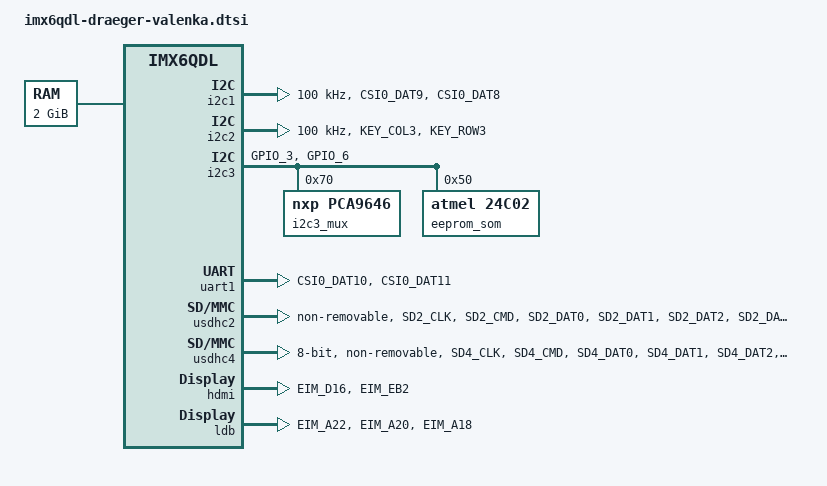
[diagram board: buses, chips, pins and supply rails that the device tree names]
/*
 *  (C) Copyright 2020 Draeger and Licensors, info@draeger.com
 *  Based on work by Russell King
 *
 *  SPDX-License-Identifier: GPL-2.0+
 *  Device Tree file for Draeger Valenka Board
 */
#include <dt-bindings/clock/imx6qdl-clock.h>
#include <dt-bindings/gpio/gpio.h>
#include <dt-bindings/input/input.h>

&iomuxc {

    valenka {

        pinctrl_valenka_uart1: valenka-uart1 {
            fsl,pins = <
                MX6QDL_PAD_CSI0_DAT10__UART1_TX_DATA	0x1b098
                MX6QDL_PAD_CSI0_DAT11__UART1_RX_DATA	0x1b098
                >;
        };

        pinctrl_valenka_uart4: valenka-uart4 {
            fsl,pins = <
                MX6QDL_PAD_KEY_COL0__UART4_TX_DATA		0x1b098
                MX6QDL_PAD_CSI0_DAT13__UART4_RX_DATA	0x13098
                >;
        };

        pinctrl_valenka_hdmi: valenka-hdmi {
            fsl,pins = <
                MX6QDL_PAD_EIM_D16__HDMI_TX_DDC_SDA 0x1b0b0
                MX6QDL_PAD_EIM_EB2__HDMI_TX_DDC_SCL 0x1b0b0
                >;
        };

        pinctrl_valenka_lvds: valenka-lvds {
            fsl,pins = <
                MX6QDL_PAD_EIM_A22__GPIO2_IO16 0x1b010 /* DISPLAY_EN */
                MX6QDL_PAD_EIM_A20__GPIO2_IO18 0x1b010 /* BACKLIGHT_EN */
                MX6QDL_PAD_EIM_A18__GPIO2_IO20 0x1b010 /* DISP0_CONTRAST */
                >;
        };

        pinctrl_valenka_i2c1: valenka-i2c1 {
            fsl,pins = <
                MX6QDL_PAD_CSI0_DAT9__I2C1_SCL 0x4001b820
                MX6QDL_PAD_CSI0_DAT8__I2C1_SDA 0x4001b820
                >;
        };

        pinctrl_valenka_i2c1_gpio: valenka-i2c1_gpio {
            fsl,pins = <
                MX6QDL_PAD_CSI0_DAT9__GPIO5_IO27 0x1b820
                MX6QDL_PAD_CSI0_DAT8__GPIO5_IO26 0x1b820
                >;
#define GP_I2C1_SCL	<&gpio5 27 GPIO_ACTIVE_HIGH>
#define GP_I2C1_SDA	<&gpio5 26 GPIO_ACTIVE_HIGH>
        };

        pinctrl_valenka_i2c2: valenka-i2c2 {
            fsl,pins = <
                MX6QDL_PAD_KEY_COL3__I2C2_SCL 0x4001b820
                MX6QDL_PAD_KEY_ROW3__I2C2_SDA 0x4001b820
                >;
        };

        pinctrl_valenka_i2c2_gpio: valenka-i2c2_gpio {
            fsl,pins = <
                MX6QDL_PAD_KEY_COL3__GPIO4_IO12 0x1b820
                MX6QDL_PAD_KEY_ROW3__GPIO4_IO13 0x1b820
                >;
#define GP_I2C2_SCL	<&gpio4 12 GPIO_ACTIVE_HIGH>
#define GP_I2C2_SDA	<&gpio4 13 GPIO_ACTIVE_HIGH>
        };

        pinctrl_valenka_i2c3: valenka-i2c3 {
            fsl,pins = <
                MX6QDL_PAD_GPIO_3__I2C3_SCL 0x4001b820
                MX6QDL_PAD_GPIO_6__I2C3_SDA 0x4001b820
                >;
        };

        pinctrl_valenka_i2c3_gpio: valenka-i2c3_gpio {
            fsl,pins = <
                MX6QDL_PAD_GPIO_3__GPIO1_IO03 0x1b820
                MX6QDL_PAD_GPIO_6__GPIO1_IO06 0x1b820
                >;
#define GP_I2C3_SCL	<&gpio1 3 GPIO_ACTIVE_HIGH>
#define GP_I2C3_SDA	<&gpio1 6 GPIO_ACTIVE_HIGH>
        };

        pinctrl_valenka_usdhc2: valenka-usdhc2 {
            fsl,pins = <
                MX6QDL_PAD_SD2_CLK__SD2_CLK    0x17069
                MX6QDL_PAD_SD2_CMD__SD2_CMD    0x17069
                MX6QDL_PAD_SD2_DAT0__SD2_DATA0 0x17069
                MX6QDL_PAD_SD2_DAT1__SD2_DATA1 0x17069
                MX6QDL_PAD_SD2_DAT2__SD2_DATA2 0x17069
                MX6QDL_PAD_SD2_DAT3__SD2_DATA3 0x17069
                >;
        };

        pinctrl_valenka_usdhc4: valenka-usdhc4 {
            fsl,pins = <
                MX6QDL_PAD_SD4_CLK__SD4_CLK    0x17059
                MX6QDL_PAD_SD4_CMD__SD4_CMD    0x17059
                MX6QDL_PAD_SD4_DAT0__SD4_DATA0 0x17059
                MX6QDL_PAD_SD4_DAT1__SD4_DATA1 0x17059
                MX6QDL_PAD_SD4_DAT2__SD4_DATA2 0x17059
                MX6QDL_PAD_SD4_DAT3__SD4_DATA3 0x17059
                MX6QDL_PAD_SD4_DAT4__SD4_DATA4 0x17059
                MX6QDL_PAD_SD4_DAT5__SD4_DATA5 0x17059
                MX6QDL_PAD_SD4_DAT6__SD4_DATA6 0x17059
                MX6QDL_PAD_SD4_DAT7__SD4_DATA7 0x17059
                >;
        };

        pinctrl_valenka_enet: enetgrp {
            fsl,pins = <
                MX6QDL_PAD_ENET_MDIO__ENET_MDIO			0x1b0a8
                MX6QDL_PAD_ENET_MDC__ENET_MDC			0x1b0a8
                MX6QDL_PAD_RGMII_TXC__RGMII_TXC			0x1b028
                MX6QDL_PAD_RGMII_TD0__RGMII_TD0			0x1b028
                MX6QDL_PAD_RGMII_TD1__RGMII_TD1			0x1b028
                MX6QDL_PAD_RGMII_TD2__RGMII_TD2			0x1b028
                MX6QDL_PAD_RGMII_TD3__RGMII_TD3			0x1b028
                MX6QDL_PAD_RGMII_TX_CTL__RGMII_TX_CTL		0x1b028
                MX6QDL_PAD_ENET_REF_CLK__ENET_TX_CLK		0x1b0a8
                MX6QDL_PAD_RGMII_RXC__RGMII_RXC			0x1b028
                MX6QDL_PAD_RGMII_RD0__RGMII_RD0			0x1b028
                MX6QDL_PAD_RGMII_RD1__RGMII_RD1			0x1b028
                MX6QDL_PAD_RGMII_RD2__RGMII_RD2			0x1b028
                MX6QDL_PAD_RGMII_RD3__RGMII_RD3			0x1b028
                MX6QDL_PAD_RGMII_RX_CTL__RGMII_RX_CTL		0x1b028
                MX6QDL_PAD_CTL_GRP_DDR_TYPE_RGMII    	0x80000000
                MX6QDL_PAD_CTL_GRP_RGMII_TERM        	0x80000000
                >;
        };

        pinctrl_valenka_enet_gpio: enetgrp_gpio {
            fsl,pins = <
                MX6QDL_PAD_ENET_TXD1__GPIO1_IO29	0x00099
                MX6QDL_PAD_DISP0_DAT12__GPIO5_IO06	0x00099
                >;
        };

        pinctrl_valenka_ecspi5: valenka-ecspi5 {
            fsl,pins = <
                MX6QDL_PAD_SD1_CLK__ECSPI5_SCLK		0x1b098
                MX6QDL_PAD_SD1_DAT0__ECSPI5_MISO	0x1b098
                MX6QDL_PAD_SD1_CMD__ECSPI5_MOSI		0x1b098
                MX6QDL_PAD_SD1_DAT1__GPIO1_IO17		0x00099
                >;
        };
    };
};

&i2c1 {
    clock-frequency = <100000>;
    pinctrl-names = "default", "gpio";
    pinctrl-0 = <&pinctrl_valenka_i2c1>;
    pinctrl-1 = <&pinctrl_valenka_i2c1_gpio>;
    scl-gpios = GP_I2C1_SCL;
    sda-gpios = GP_I2C1_SDA;
    status = "okay";
};

&i2c2 {
    clock-frequency = <100000>;
    pinctrl-names = "default", "gpio";
    pinctrl-0 = <&pinctrl_valenka_i2c2>;
    pinctrl-1 = <&pinctrl_valenka_i2c2_gpio>;
    scl-gpios = GP_I2C2_SCL;
    sda-gpios = GP_I2C2_SDA;
    status = "okay";
};

&i2c3 {
    pinctrl-names = "default", "gpio";
    pinctrl-0 = <&pinctrl_valenka_i2c3>;
    pinctrl-1 = <&pinctrl_valenka_i2c3_gpio>;
    scl-gpios = GP_I2C3_SCL;
    sda-gpios = GP_I2C3_SDA;
    status = "okay";

    i2c3_mux: mux@70 {
        compatible = "nxp,pca9646";
        reg = <0x70>;
#address-cells = <1>;
#size-cells = <0>;
    };

    eeprom_som: eeprom@50 {
        compatible = "atmel,24c02";
        reg = <0x50>;
        pagesize = <16>;
    };
};

&uart1 {
    pinctrl-names = "default";
    pinctrl-0 = <&pinctrl_valenka_uart1>;
    status = "okay";
};

&usdhc2 {
    pinctrl-names = "default";
    pinctrl-0 = <&pinctrl_valenka_usdhc2>;
    non-removable;
    fsl,wp-controller;
    status = "okay";
};

&usdhc4 {
    pinctrl-names = "default";
    pinctrl-0 = <&pinctrl_valenka_usdhc4>;
    non-removable;
    bus-width = <8>;
    fsl,wp-controller;
    status = "okay";
};

&hdmi {
    status = "okay";
    pinctrl-names = "default";
    pinctrl-0 = <&pinctrl_valenka_hdmi>;

    display-timings {
        native-mode = <&hdmi0>;
        hdmi0: hdmi {
            clock-frequency = <65000000>;
            hactive = <1024>;
            vactive = <768>;
            hback-porch = <220>;
            hfront-porch = <40>;
            vback-porch = <21>;
            vfront-porch = <7>;
            hsync-len = <60>;
            vsync-len = <10>;
        };
        hdmi1: hdmi-1280x800-32@60 {
            clock-frequency = <71000000>;
            hactive = <1280>;
            vactive = <800>;
            hback-porch = <80>;
            hfront-porch = <48>;
            vback-porch = <14>;
            vfront-porch = <3>;
            hsync-len = <32>;
            vsync-len = <6>;
        };
    };
};

&ldb {
    status = "okay";
    pinctrl-names = "default";
    pinctrl-0 = <&pinctrl_valenka_lvds>;

    lvds-channel@0 {
        fsl,data-mapping = "spwg";
        fsl,data-width = <24>;
        status = "okay";

        display-timings {
            native-mode = <&timing0>;
            timing0: 1366x768-32@60 {
                clock-frequency = <72000000>;
                hactive = <1366>;
                vactive = <768>;
                hback-porch = <80>;
                hfront-porch = <48>;
                vback-porch = <14>;
                vfront-porch = <3>;
                hsync-len = <32>;
                vsync-len = <5>;
            };
            timing1: 1280x800-24@60 {
                clock-frequency = <71000000>;
                hactive = <1280>;
                vactive = <800>;
                hback-porch = <80>;
                hfront-porch = <48>;
                vback-porch = <14>;
                vfront-porch = <3>;
                hsync-len = <32>;
                vsync-len = <6>;
            };
            timing2: Tianma_1280x800-24@60 {
                clock-frequency = <69521000>;
                hactive = <1280>;
                vactive = <800>;
                hback-porch = <1>;
                hfront-porch = <1>;
                vback-porch = <2>;
                vfront-porch = <2>;
                hsync-len = <8>;
                vsync-len = <1>;
            };
            timing3: 1024x768-24@60 {
                clock-frequency = <65000000>;
                hactive = <1024>;
                vactive = <768>;
                hback-porch = <160>;
                hfront-porch = <24>;
                vback-porch = <29>;
                vfront-porch = <3>;
                hsync-len = <136>;
                vsync-len = <6>;
            };
            timing4: 640x480-24@60 {
                clock-frequency = <25175000>;
                hactive = <640>;
                vactive = <480>;
                hback-porch = <48>;
                hfront-porch = <16>;
                vback-porch = <33>;
                vfront-porch = <10>;
                hsync-len = <96>;
                vsync-len = <2>;
            };
        };
    };
};


/ {
    aliases {
        mmc0 = &usdhc2;
        mmc1 = &usdhc4;
    };

    /* Will be filled by the bootloader */
    memory@10000000 {
        device_type = "memory";
        reg = <0x10000000 0x80000000>;
    };

    chosen {
        stdout-path = &uart1;
    };

    config {
        bootcmd = "startM48";
    };
};
